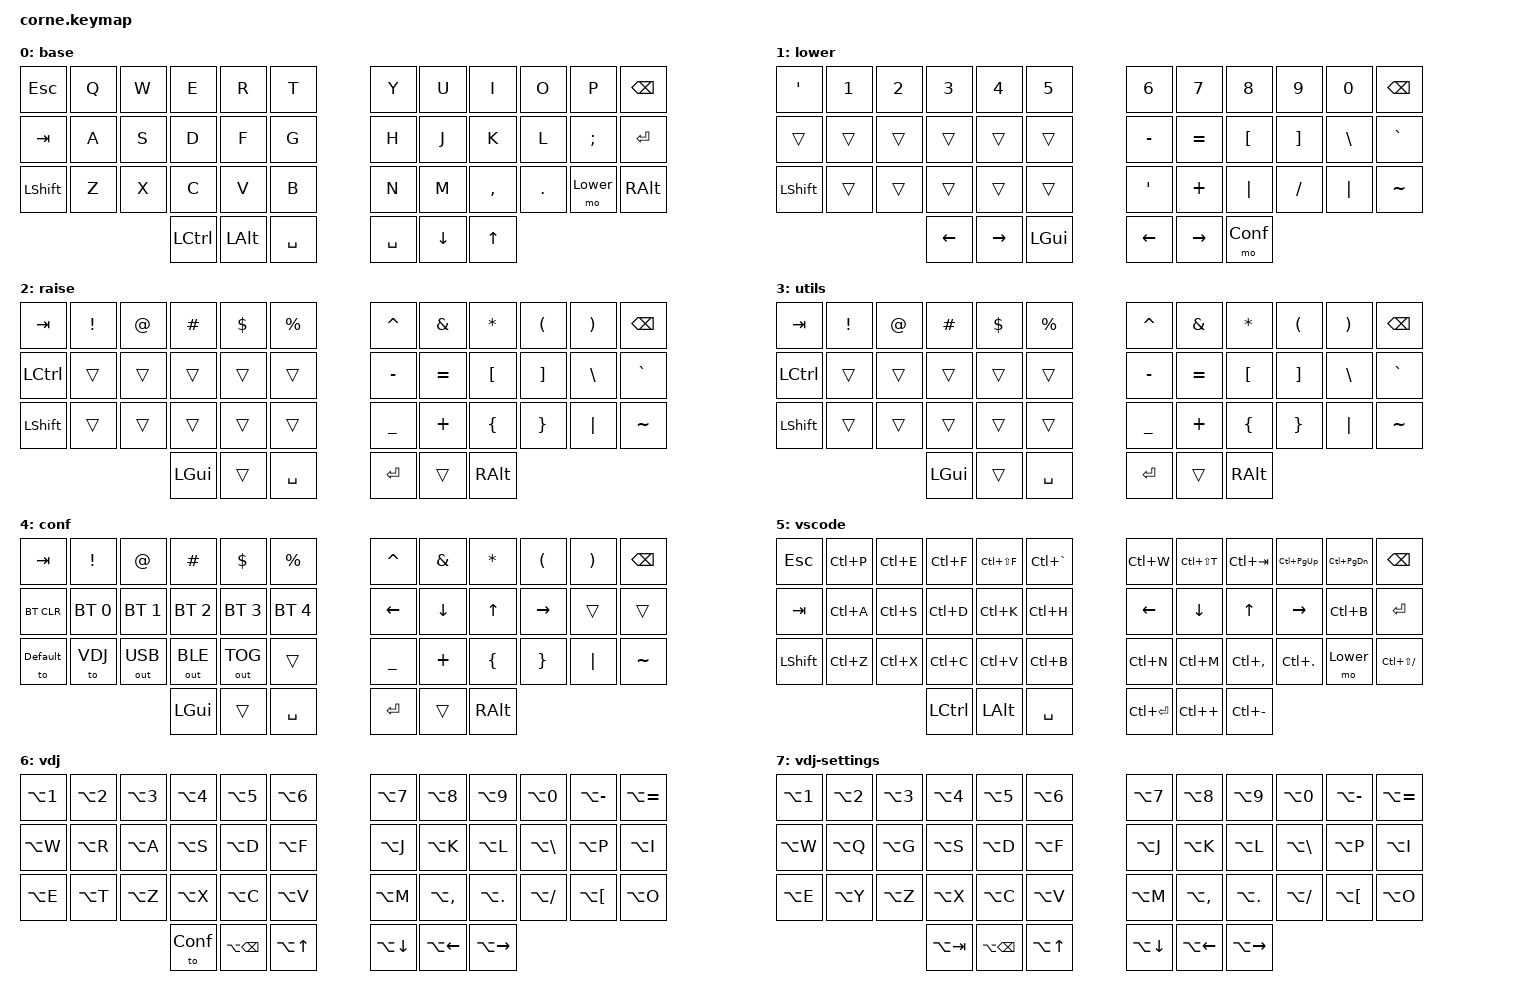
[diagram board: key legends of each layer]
/*
 * Copyright (c) 2020 The ZMK Contributors
 *
 * SPDX-License-Identifier: MIT
 */

#include <behaviors.dtsi>
#include <dt-bindings/zmk/keys.h>
#include <dt-bindings/zmk/bt.h>
#include <dt-bindings/zmk/outputs.h>

#define Default 0 
#define Lower 1
#define Raise 2
#define Utils 3
#define Conf   4
#define VSCode 5                 
#define VDJ 6  

/ {
  behaviors {
    hm: homerow_mods {
      compatible = "zmk,behavior-hold-tap";
      #binding-cells = <2>;
      tapping-term-ms = <150>;
      quick-tap-ms = <0>;
      flavor = "tap-preferred";
      bindings = <&kp>, <&kp>;
   };
  };




  keymap {
    compatible = "zmk,keymap";
      default_layer {
        display-name = "base";
        bindings = <
   &kp ESC   &kp Q &kp W &kp E &kp R &kp T                             &kp Y &kp U  &kp I &kp O &kp P &kp BSPC
  // &kp TAB   &hm LCTRL A &hm LGUI S &hm LALT D &hm LSHIFT F &kp G      &kp H &hm LSHIFT J  &hm LALT K   &hm LGUI L   &hm LCTRL SEMI  &kp RET 
   &kp TAB   &kp A &kp S &kp D &kp F &kp G                             &kp H &kp J &kp K &kp L &kp SEMI &kp RET 
   &kp LSHFT &kp Z &kp X &kp C &kp V &kp B                             &kp N &kp M &kp COMMA &kp DOT &mo Lower &kp RALT
                &kp LCTRL &kp LALT &kp SPACE                           &kp SPACE &kp DOWN &kp UP
                        >;
                };
      lower_layer {
        display-name = "lower";
        bindings = <
   &kp APOS   &kp N1   &kp N2   &kp N3   &kp N4   &kp N5                         &kp N6    &kp N7   &kp N8 &kp N9  &kp N0 &kp BSPC
   &trans &trans &trans &trans &trans &trans                                     &kp MINUS &kp EQUAL &kp LBKT  &kp RBKT &kp BSLH &kp GRAVE
   &kp LSHFT &trans   &trans   &trans   &trans   &trans                          &kp APOS &kp PLUS  &kp PIPE  &kp FSLH &kp PIPE &kp TILDE
                &kp LEFT &kp RIGHT &kp LGUI                                      &kp LEFT  &kp RIGHT   &mo Conf
                        >;
                };
      raise_layer {
        display-name = "raise";
        bindings = <
   &kp  TAB  &kp EXCL &kp AT &kp HASH &kp DLLR &kp PRCNT   &kp CARET &kp AMPS  &kp ASTRK &kp LPAR &kp RPAR &kp BSPC
   &kp LCTRL &trans   &trans &trans   &trans   &trans      &kp MINUS &kp EQUAL &kp LBKT  &kp RBKT &kp BSLH &kp GRAVE
   &kp LSHFT &trans   &trans &trans   &trans   &trans      &kp UNDER &kp PLUS  &kp LBRC  &kp RBRC &kp PIPE &kp TILDE
                             &kp LGUI &trans   &kp SPACE   &kp RET   &trans    &kp RALT
                        >;
                };
      utils {
        display-name = "utils";
        bindings = <
   &kp TAB   &kp EXCL &kp AT &kp HASH &kp DLLR &kp PRCNT   &kp CARET &kp AMPS  &kp ASTRK &kp LPAR &kp RPAR &kp BSPC
   &kp LCTRL &trans   &trans &trans   &trans   &trans      &kp MINUS &kp EQUAL &kp LBKT  &kp RBKT &kp BSLH &kp GRAVE
   &kp LSHFT &trans   &trans &trans   &trans   &trans      &kp UNDER &kp PLUS  &kp LBRC  &kp RBRC &kp PIPE &kp TILDE
                             &kp LGUI &trans   &kp SPACE   &kp RET   &trans    &kp RALT
                        >;
                };

        conf {
          display-name = "conf";
          bindings = <
   &kp  TAB  &kp EXCL &kp AT &kp HASH &kp DLLR &kp PRCNT   &kp CARET &kp AMPS  &kp ASTRK &kp LPAR &kp RPAR &kp BSPC
   &bt BT_CLR &bt BT_SEL 0 &bt BT_SEL 1 &bt BT_SEL 2 &bt BT_SEL 3 &bt BT_SEL 4   &kp LEFT &kp DOWN &kp UP &kp RIGHT &trans &trans
   &to Default &to VDJ   &out OUT_USB &out OUT_BLE   &out OUT_TOG   &trans      &kp UNDER &kp PLUS  &kp LBRC  &kp RBRC &kp PIPE &kp TILDE
                             &kp LGUI &trans   &kp SPACE   &kp RET   &trans    &kp RALT
                        >;
                };         
        vscode {
          display-name = "vscode";
          bindings = <
   &kp ESC    &kp LC(P)     &kp LC(E)      &kp LC(F)      &kp LC(LS(F))  &kp LC(GRAVE)      &kp LC(W)  &kp LC(LS(T)) &kp LC(TAB)   &kp LC(PG_UP) &kp LC(PG_DN) &kp BSPC
   &kp TAB    &kp LC(A)     &kp LC(S)      &kp LC(D)      &kp LC(K)      &kp LC(H)          &kp LEFT   &kp DOWN      &kp UP        &kp RIGHT     &kp LC(B)     &kp RET
   &kp LSHFT  &kp LC(Z)     &kp LC(X)      &kp LC(C)      &kp LC(V)      &kp LC(B)          &kp LC(N)  &kp LC(M)     &kp LC(COMMA) &kp LC(DOT)   &mo Lower     &kp LC(LS(FSLH))
                                           &kp LCTRL        &kp LALT       &kp SPACE          &kp LC(ENTER) &kp LC(PLUS) &kp LC(MINUS)
                        >;
                };             
        vdj {
          display-name = "vdj";
          bindings = <
   &kp LA(N1) &kp LA(N2)    &kp LA(N3)    &kp LA(N4)    &kp LA(N5)    &kp LA(N6)     &kp LA(N7)  &kp LA(N8) &kp LA(N9)   &kp LA(N0) &kp LA(MINUS)   &kp LA(EQUAL)
   &kp LA(W)  &kp LA(R)     &kp LA(A)    &kp LA(S)      &kp LA(D)     &kp LA(F)      &kp LA(J)  &kp LA(K) &kp LA(L)   &kp LA(BSLH) &kp LA(P)   &kp LA(I)
   &kp LA(E)  &kp LA(T)     &kp LA(Z)    &kp LA(X)      &kp LA(C)     &kp LA(V)      &kp LA(M)  &kp LA(COMMA) &kp LA(DOT)   &kp LA(FSLH) &kp LA(LBKT)   &kp LA(O)
                &to Conf    &kp LA(BSPC)  &kp LA(UP)                              &kp LA(DOWN) &kp LA(LEFT) &kp LA(RIGHT)
                        >;
                };             
        vdjsettings {
          display-name = "vdj-settings";
          bindings = <
   &kp LA(N1) &kp LA(N2)    &kp LA(N3)    &kp LA(N4)    &kp LA(N5)    &kp LA(N6)     &kp LA(N7)  &kp LA(N8) &kp LA(N9)   &kp LA(N0) &kp LA(MINUS)   &kp LA(EQUAL)
   &kp LA(W)  &kp LA(Q)     &kp LA(G)    &kp LA(S)      &kp LA(D)     &kp LA(F)      &kp LA(J)  &kp LA(K) &kp LA(L)   &kp LA(BSLH) &kp LA(P)   &kp LA(I)
   &kp LA(E)  &kp LA(Y)     &kp LA(Z)    &kp LA(X)      &kp LA(C)     &kp LA(V)      &kp LA(M)  &kp LA(COMMA) &kp LA(DOT)   &kp LA(FSLH) &kp LA(LBKT)   &kp LA(O)
                &kp LA(TAB)    &kp LA(BSPC)  &kp LA(UP)                              &kp LA(DOWN) &kp LA(LEFT) &kp LA(RIGHT)
                        >;
                };             
                                        
          
        };
};
